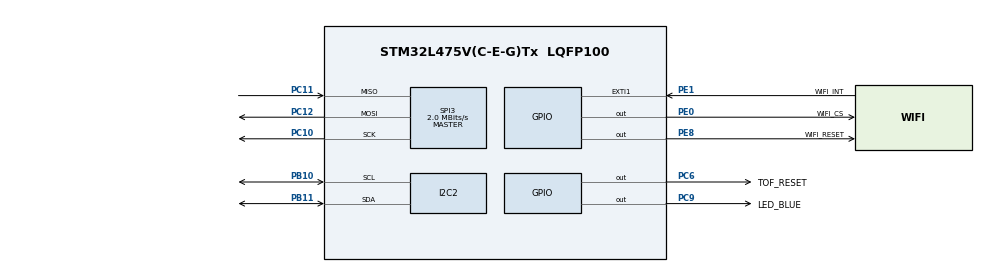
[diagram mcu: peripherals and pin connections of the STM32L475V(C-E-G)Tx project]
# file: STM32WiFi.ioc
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Mcu.Family=STM32L4
Mcu.Name=STM32L475V(C-E-G)Tx
Mcu.Package=LQFP100
NVIC.EXTI1_IRQn=true\:0\:0\:false\:false\:true\:true\:true
NVIC.PriorityGroup=NVIC_PRIORITYGROUP_4
PB10.Mode=I2C
PB10.Signal=I2C2_SCL
PB11.Mode=I2C
PB11.Signal=I2C2_SDA
PC10.Mode=Full_Duplex_Master
PC10.Signal=SPI3_SCK
PC11.Mode=Full_Duplex_Master
PC11.Signal=SPI3_MISO
PC12.Mode=Full_Duplex_Master
PC12.Signal=SPI3_MOSI
PC6.GPIO_Label=TOF_RESET
PC6.Signal=GPIO_Output
PC9.GPIO_Label=LED_BLUE
PC9.Signal=GPIO_Output
PE0.GPIO_Label=WIFI_CS
PE0.PinState=GPIO_PIN_SET
PE0.Signal=GPIO_Output
PE1.GPIO_Label=WIFI_INT
PE1.GPIO_ModeDefaultEXTI=GPIO_MODE_IT_RISING
PE1.Signal=GPXTI1
PE8.GPIO_Label=WIFI_RESET
PE8.GPIO_ModeDefaultOutputPP=GPIO_MODE_OUTPUT_PP
PE8.GPIO_PuPd=GPIO_PULLUP
PE8.GPIO_Speed=GPIO_SPEED_FREQ_HIGH
PE8.PinState=GPIO_PIN_SET
PE8.Signal=GPIO_Output
ProjectManager.HeapSize=0x200
ProjectManager.StackSize=0x400
ProjectManager.TargetToolchain=SW4STM32
RCC.HSE_VALUE=8000000
RCC.HSI_VALUE=16000000
RCC.LSE_VALUE=32768
RCC.MSI_VALUE=4000000
RCC.VCOOutputFreq_Value=32000000
SPI3.CalculateBaudRate=2.0 MBits/s
SPI3.DataSize=SPI_DATASIZE_8BIT
SPI3.Direction=SPI_DIRECTION_2LINES
SPI3.Mode=SPI_MODE_MASTER
SPI3.VirtualType=VM_MASTER
board=custom

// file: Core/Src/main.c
/* USER CODE BEGIN Header */
/**
  ******************************************************************************
  * @file           : main.c
  * @brief          : Main program body
  ******************************************************************************
  * @attention
  *
  * <h2><center>&copy; Copyright (c) 2021 STMicroelectronics.
  * All rights reserved.</center></h2>
  *
  * This software component is licensed by ST under BSD 3-Clause license,
  * the "License"; You may not use this file except in compliance with the
  * License. You may obtain a copy of the License at:
  *                        opensource.org/licenses/BSD-3-Clause
  *
  ******************************************************************************
  */
/* USER CODE END Header */
#include "main.h"

/* USER CODE BEGIN PM */
#include "string.h"
#include "wifi.h"
#include "config.h"
#include "sensors.h"

/* USER CODE END PM */

I2C_HandleTypeDef hi2c2;

SPI_HandleTypeDef hspi3;

void SystemClock_Config(void);
static void MX_GPIO_Init(void);
static void MX_SPI3_Init(void);
static void MX_I2C2_Init(void);

/* USER CODE BEGIN 0 */
uint8_t connected[]={'K','O','\n','\r'};
uint8_t already[]={'l','A','e','r','d'};

/* USER CODE END 0 */

int main(void)
{

  /* MCU Configuration--------------------------------------------------------*/

  /* Reset of all peripherals, Initializes the Flash interface and the Systick. */
  HAL_Init();

  /* Configure the system clock */
  SystemClock_Config();

  /* Initialize all configured peripherals */
  MX_GPIO_Init();
  MX_SPI3_Init();
  MX_I2C2_Init();
  /* USER CODE BEGIN 2 */

  HAL_GPIO_WritePin(WIFI_RESET_GPIO_Port,WIFI_RESET_Pin,GPIO_PIN_RESET);
  HAL_Delay(1000);
  HAL_GPIO_WritePin(WIFI_RESET_GPIO_Port,WIFI_RESET_Pin,GPIO_PIN_SET);

  /* USER CODE END 2 */

  /* Infinite loop */
  /* USER CODE BEGIN WHILE */

  //wait for the module that is ready for communication
  int result;
  do{
   result=getWifiModuleReady();
  }while(!result);

  startWifi();

  //START TOF SENSOR
  HAL_GPIO_WritePin(TOF_RESET_GPIO_Port,TOF_RESET_Pin,GPIO_PIN_SET);

  //Start the measure of tof
  startToF();

  HAL_Delay(1);
  //init temperature and humidity sensor
  initHTS221();
  HAL_Delay(1);
  int16_t accx,accy,accz;
  int16_t magx,magy,magz;
  //init mems
  init_accelerometer();
  init_magnetometer();
  int distance=0;

  float temp,hum;

  while (1)
  {
    /* USER CODE END WHILE */

    /* USER CODE BEGIN 3 */

	  //GET THE DATA FROM SENSORS

      getDistance(&distance);
	  getAxisAccelerometer(&accx,&accy,&accz);
	  getAxisMagnetometer(&magx,&magy,&magz);
	  getHumidity(&hum);
	  getTemperature(&temp);
	  startToF();

	  //SET THE NAME OF THE SENSORS AND THE DATA
	  setSensor("Accelerometer");
	  setDataInt("x",accx);
	  setDataInt("y",accy);
	  setDataInt("z",accz);

	  setSensor("Magnetometer");
	  setDataInt("x",magx);
	  setDataInt("y",magy);
	  setDataInt("z",magz);

	  setSensor("Environmental");
	  setDataFloat("Humidity",hum);
	  setDataFloat("Temperature",temp);

      setSensor("Time of flight");
      setDataInt("distance",distance);

      //SEND THE DATA TO GW
	  sendData();

  }
  /* USER CODE END 3 */
}

void SystemClock_Config(void)
{
  RCC_OscInitTypeDef RCC_OscInitStruct = {0};
  RCC_ClkInitTypeDef RCC_ClkInitStruct = {0};
  RCC_PeriphCLKInitTypeDef PeriphClkInit = {0};

  /** Initializes the RCC Oscillators according to the specified parameters
  * in the RCC_OscInitTypeDef structure.
  */
  RCC_OscInitStruct.OscillatorType = RCC_OSCILLATORTYPE_MSI;
  RCC_OscInitStruct.MSIState = RCC_MSI_ON;
  RCC_OscInitStruct.MSICalibrationValue = 0;
  RCC_OscInitStruct.MSIClockRange = RCC_MSIRANGE_6;
  RCC_OscInitStruct.PLL.PLLState = RCC_PLL_NONE;
  if (HAL_RCC_OscConfig(&RCC_OscInitStruct) != HAL_OK)
  {
    Error_Handler();
  }
  /** Initializes the CPU, AHB and APB buses clocks
  */
  RCC_ClkInitStruct.ClockType = RCC_CLOCKTYPE_HCLK|RCC_CLOCKTYPE_SYSCLK
                              |RCC_CLOCKTYPE_PCLK1|RCC_CLOCKTYPE_PCLK2;
  RCC_ClkInitStruct.SYSCLKSource = RCC_SYSCLKSOURCE_MSI;
  RCC_ClkInitStruct.AHBCLKDivider = RCC_SYSCLK_DIV1;
  RCC_ClkInitStruct.APB1CLKDivider = RCC_HCLK_DIV1;
  RCC_ClkInitStruct.APB2CLKDivider = RCC_HCLK_DIV1;

  if (HAL_RCC_ClockConfig(&RCC_ClkInitStruct, FLASH_LATENCY_0) != HAL_OK)
  {
    Error_Handler();
  }
  PeriphClkInit.PeriphClockSelection = RCC_PERIPHCLK_I2C2;
  PeriphClkInit.I2c2ClockSelection = RCC_I2C2CLKSOURCE_PCLK1;
  if (HAL_RCCEx_PeriphCLKConfig(&PeriphClkInit) != HAL_OK)
  {
    Error_Handler();
  }
  /** Configure the main internal regulator output voltage
  */
  if (HAL_PWREx_ControlVoltageScaling(PWR_REGULATOR_VOLTAGE_SCALE1) != HAL_OK)
  {
    Error_Handler();
  }
}

static void MX_I2C2_Init(void)
{

  hi2c2.Instance = I2C2;
  hi2c2.Init.Timing = 0x00000E14;
  hi2c2.Init.OwnAddress1 = 0;
  hi2c2.Init.AddressingMode = I2C_ADDRESSINGMODE_7BIT;
  hi2c2.Init.DualAddressMode = I2C_DUALADDRESS_DISABLE;
  hi2c2.Init.OwnAddress2 = 0;
  hi2c2.Init.OwnAddress2Masks = I2C_OA2_NOMASK;
  hi2c2.Init.GeneralCallMode = I2C_GENERALCALL_DISABLE;
  hi2c2.Init.NoStretchMode = I2C_NOSTRETCH_DISABLE;
  if (HAL_I2C_Init(&hi2c2) != HAL_OK)
  {
    Error_Handler();
  }
  /** Configure Analogue filter
  */
  if (HAL_I2CEx_ConfigAnalogFilter(&hi2c2, I2C_ANALOGFILTER_ENABLE) != HAL_OK)
  {
    Error_Handler();
  }
  /** Configure Digital filter
  */
  if (HAL_I2CEx_ConfigDigitalFilter(&hi2c2, 0) != HAL_OK)
  {
    Error_Handler();
  }

}

static void MX_SPI3_Init(void)
{

  /* SPI3 parameter configuration*/
  hspi3.Instance = SPI3;
  hspi3.Init.Mode = SPI_MODE_MASTER;
  hspi3.Init.Direction = SPI_DIRECTION_2LINES;
  hspi3.Init.DataSize = SPI_DATASIZE_8BIT;
  hspi3.Init.CLKPolarity = SPI_POLARITY_LOW;
  hspi3.Init.CLKPhase = SPI_PHASE_1EDGE;
  hspi3.Init.NSS = SPI_NSS_SOFT;
  hspi3.Init.BaudRatePrescaler = SPI_BAUDRATEPRESCALER_2;
  hspi3.Init.FirstBit = SPI_FIRSTBIT_MSB;
  hspi3.Init.TIMode = SPI_TIMODE_DISABLE;
  hspi3.Init.CRCCalculation = SPI_CRCCALCULATION_DISABLE;
  hspi3.Init.CRCPolynomial = 7;
  hspi3.Init.CRCLength = SPI_CRC_LENGTH_DATASIZE;
  hspi3.Init.NSSPMode = SPI_NSS_PULSE_ENABLE;
  if (HAL_SPI_Init(&hspi3) != HAL_OK)
  {
    Error_Handler();
  }

}

static void MX_GPIO_Init(void)
{
  GPIO_InitTypeDef GPIO_InitStruct = {0};

  /* GPIO Ports Clock Enable */
  __HAL_RCC_GPIOE_CLK_ENABLE();
  __HAL_RCC_GPIOB_CLK_ENABLE();
  __HAL_RCC_GPIOC_CLK_ENABLE();

  /*Configure GPIO pin Output Level */
  HAL_GPIO_WritePin(GPIOE, WIFI_RESET_Pin|WIFI_CS_Pin, GPIO_PIN_SET);

  /*Configure GPIO pin Output Level */
  HAL_GPIO_WritePin(GPIOC, TOF_RESET_Pin|LED_BLUE_Pin, GPIO_PIN_RESET);

  /*Configure GPIO pin : WIFI_RESET_Pin */
  GPIO_InitStruct.Pin = WIFI_RESET_Pin;
  GPIO_InitStruct.Mode = GPIO_MODE_OUTPUT_PP;
  GPIO_InitStruct.Pull = GPIO_PULLUP;
  GPIO_InitStruct.Speed = GPIO_SPEED_FREQ_HIGH;
  HAL_GPIO_Init(WIFI_RESET_GPIO_Port, &GPIO_InitStruct);

  /*Configure GPIO pins : TOF_RESET_Pin LED_BLUE_Pin */
  GPIO_InitStruct.Pin = TOF_RESET_Pin|LED_BLUE_Pin;
  GPIO_InitStruct.Mode = GPIO_MODE_OUTPUT_PP;
  GPIO_InitStruct.Pull = GPIO_NOPULL;
  GPIO_InitStruct.Speed = GPIO_SPEED_FREQ_LOW;
  HAL_GPIO_Init(GPIOC, &GPIO_InitStruct);

  /*Configure GPIO pin : WIFI_CS_Pin */
  GPIO_InitStruct.Pin = WIFI_CS_Pin;
  GPIO_InitStruct.Mode = GPIO_MODE_OUTPUT_PP;
  GPIO_InitStruct.Pull = GPIO_NOPULL;
  GPIO_InitStruct.Speed = GPIO_SPEED_FREQ_LOW;
  HAL_GPIO_Init(WIFI_CS_GPIO_Port, &GPIO_InitStruct);

  /*Configure GPIO pin : WIFI_INT_Pin */
  GPIO_InitStruct.Pin = WIFI_INT_Pin;
  GPIO_InitStruct.Mode = GPIO_MODE_IT_RISING;
  GPIO_InitStruct.Pull = GPIO_NOPULL;
  HAL_GPIO_Init(WIFI_INT_GPIO_Port, &GPIO_InitStruct);

  /* EXTI interrupt init*/
  HAL_NVIC_SetPriority(EXTI1_IRQn, 0, 0);
  HAL_NVIC_EnableIRQ(EXTI1_IRQn);

}

void Error_Handler(void)
{
  __disable_irq();
  while (1)
  {
  }
}

/************************ (C) COPYRIGHT STMicroelectronics *****END OF FILE****/
